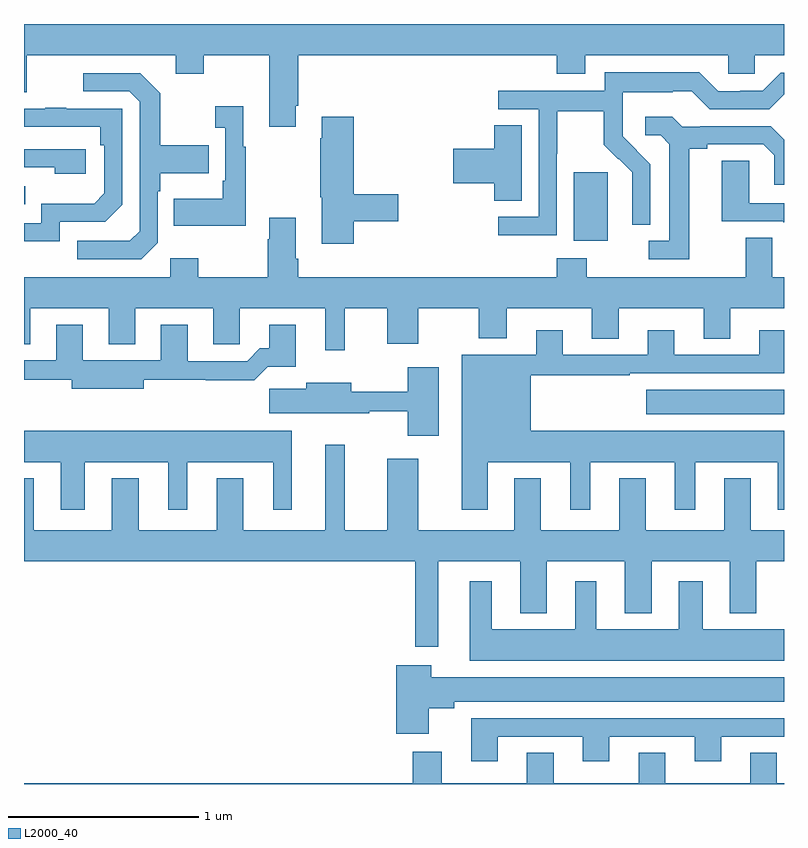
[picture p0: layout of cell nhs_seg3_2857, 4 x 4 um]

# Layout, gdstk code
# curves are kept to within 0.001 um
import gdstk
lib = gdstk.Library(unit=1e-6, precision=1e-09)
def R(c, l, rs):  # rectangles x0, y0, x1, y1
    for r in rs: c.add(gdstk.rectangle(r[:2], r[2:], *l))
def P(c, l, *ps):  # polygons
    for p in ps: c.add(gdstk.Polygon(p, *l))
L2000_40 = (2000, 40)

nhs_seg3_2857 = lib.new_cell('nhs_seg3_2857')
R(nhs_seg3_2857, L2000_40, [(262.275,712.346,263,712.474), (261.893,713.258,262.072,713.619), (259,713.451,259.007,713.547)])
P(nhs_seg3_2857, L2000_40, [(260.431,713.971),(260.444,713.971),(260.444,714.236),(261.803,714.236),(261.803,714.137),(261.955,714.137),(261.955,714.236),(262.707,714.236),(262.707,714.138),(262.845,714.138),(262.845,714.236),(263,714.236),(263,714.4),(259,714.4),(259,714.042),(259.015,714.042),(259.015,714.236),(259.799,714.236),(259.799,714.137),(259.947,714.137),(259.947,714.236),(260.291,714.236),(260.291,713.859),(260.431,713.859)],
  [(261.804,713.716),(261.807,713.716),(261.807,713.94),(262.051,713.94),(262.051,713.765),(262.128,713.688),(262.131,713.691),(262.202,713.621),(262.202,713.498),(262.2,713.498),(262.2,713.344),(262.296,713.344),(262.296,713.662),(262.15,713.81),(262.15,713.907),(262.152,713.907),(262.152,714.041),(262.415,714.041),(262.415,714.045),(262.515,714.045),(262.608,713.952),(262.923,713.952),(263,714.029),(263,714.144),(262.983,714.144),(262.887,714.048),(262.769,714.048),(262.769,714.045),(262.653,714.045),(262.553,714.145),(262.056,714.145),(262.056,714.048),(261.495,714.048),(261.495,713.952),(261.708,713.952),(261.708,713.385),(261.495,713.385),(261.495,713.287),(261.804,713.287)],
  [(259.704,713.25),(259.704,713.519),(259.717,713.519),(259.717,713.615),(259.973,713.615),(259.973,713.763),(259.717,713.763),(259.717,714.035),(259.611,714.141),(259.311,714.141),(259.311,714.045),(259.554,714.045),(259.608,713.991),(259.608,713.31),(259.557,713.259),(259.281,713.259),(259.281,713.163),(259.617,713.163)],
  [(260.166,713.755),(260.155,713.755),(260.155,713.968),(260.007,713.968),(260.007,713.855),(260.058,713.855),(260.058,713.575),(260.046,713.575),(260.046,713.479),(259.789,713.479),(259.789,713.339),(260.166,713.339)],
  [(259.188,713.358),(259.428,713.358),(259.518,713.448),(259.518,713.955),(259.223,713.955),(259.223,713.96),(259.111,713.96),(259.111,713.955),(259,713.955),(259,713.859),(259.402,713.859),(259.402,713.762),(259.422,713.762),(259.422,713.508),(259.369,713.455),(259.092,713.455),(259.092,713.352),(259,713.352),(259,713.256),(259.188,713.256)],
  [(262.501,713.744),(262.597,713.744),(262.597,713.766),(262.892,713.766),(262.949,713.709),(262.949,713.553),(263,713.553),(263,713.792),(262.93,713.862),(262.558,713.862),(262.558,713.859),(262.464,713.859),(262.412,713.911),(262.269,713.911),(262.269,713.814),(262.35,713.814),(262.397,713.767),(262.397,713.259),(262.287,713.259),(262.287,713.163),(262.501,713.163)],
  [(260.735,713.362),(260.971,713.362),(260.971,713.504),(260.735,713.504),(260.735,713.911),(260.567,713.911),(260.567,713.798),(260.56,713.798),(260.56,713.487),(260.567,713.487),(260.567,713.244),(260.735,713.244)],
  [(261.619,713.867),(261.476,713.867),(261.476,713.744),(261.258,713.744),(261.258,713.561),(261.476,713.561),(261.476,713.47),(261.619,713.47)],
  [(259.324,713.742),(259,713.742),(259,713.646),(259.163,713.646),(259.163,713.612),(259.324,713.612)],
  [(263,713.457),(262.818,713.457),(262.818,713.681),(262.673,713.681),(262.673,713.361),(262.997,713.361),(262.997,713.357),(263,713.357)],
  [(260.689,712.904),(260.912,712.904),(260.912,712.716),(261.076,712.716),(261.076,712.904),(261.394,712.904),(261.394,712.745),(261.541,712.745),(261.541,712.904),(261.989,712.904),(261.989,712.744),(262.129,712.744),(262.129,712.904),(262.577,712.904),(262.577,712.744),(262.717,712.744),(262.717,712.904),(263,712.904),(263,713.068),(262.939,713.068),(262.939,713.276),(262.799,713.276),(262.799,713.068),(261.963,713.068),(261.963,713.167),(261.803,713.167),(261.803,713.068),(260.444,713.068),(260.444,713.164),(260.431,713.164),(260.431,713.38),(260.291,713.38),(260.291,713.267),(260.284,713.267),(260.284,713.068),(259.916,713.068),(259.916,713.167),(259.77,713.167),(259.77,713.068),(259,713.068),(259,712.714),(259.033,712.714),(259.033,712.904),(259.445,712.904),(259.445,712.715),(259.585,712.715),(259.585,712.904),(259.997,712.904),(259.997,712.714),(260.136,712.714),(260.136,712.904),(260.585,712.904),(260.585,712.683),(260.689,712.683)],
  [(259.63,712.528),(259.957,712.528),(259.957,712.526),(260.213,712.526),(260.282,712.595),(260.431,712.595),(260.431,712.816),(260.291,712.816),(260.291,712.693),(260.242,712.693),(260.175,712.626),(259.861,712.626),(259.861,712.816),(259.721,712.816),(259.721,712.629),(259.309,712.63),(259.309,712.816),(259.169,712.816),(259.169,712.629),(259,712.629),(259,712.528),(259.25,712.528),(259.25,712.481),(259.63,712.481)],
  [(261.442,712.094),(261.875,712.094),(261.875,711.843),(261.979,711.843),(261.979,712.094),(262.424,712.094),(262.424,711.843),(262.534,711.843),(262.534,712.094),(262.967,712.094),(262.967,711.843),(263,711.843),(263,712.258),(261.667,712.258),(261.667,712.551),(262.187,712.551),(262.187,712.563),(263,712.563),(263,712.789),(262.871,712.789),(262.871,712.659),(262.423,712.659),(262.423,712.789),(262.283,712.789),(262.283,712.659),(261.835,712.659),(261.835,712.789),(261.695,712.789),(261.695,712.66),(261.305,712.66),(261.305,711.843),(261.442,711.843)],
  [(261.184,712.594),(261.019,712.594),(261.019,712.464),(260.722,712.464),(260.722,712.513),(260.486,712.513),(260.486,712.481),(260.291,712.481),(260.291,712.352),(260.818,712.352),(260.818,712.363),(261.019,712.363),(261.019,712.233),(261.184,712.233)],
  [(259.321,712.094),(259.76,712.094),(259.76,711.843),(259.858,711.843),(259.858,712.094),(260.312,712.094),(260.312,711.843),(260.41,711.843),(260.41,712.258),(259,712.258),(259,712.094),(259.193,712.094),(259.193,711.843),(259.321,711.843)],
  [(261.181,711.572),(261.611,711.572),(261.611,711.299),(261.751,711.299),(261.751,711.572),(262.163,711.572),(262.163,711.299),(262.303,711.299),(262.303,711.572),(262.715,711.572),(262.715,711.299),(262.855,711.299),(262.855,711.572),(263,711.572),(263,711.736),(262.825,711.736),(262.825,712.009),(262.685,712.009),(262.685,711.736),(262.273,711.736),(262.273,712.009),(262.133,712.009),(262.133,711.736),(261.721,711.736),(261.721,712.009),(261.581,712.009),(261.581,711.736),(261.076,711.736),(261.076,712.111),(260.912,712.111),(260.912,711.736),(260.689,711.736),(260.689,712.186),(260.585,712.186),(260.585,711.736),(260.155,711.736),(260.155,712.009),(260.015,712.009),(260.015,711.736),(259.603,711.736),(259.603,712.009),(259.463,712.009),(259.463,711.736),(259.051,711.736),(259.051,712.009),(259,712.009),(259,711.572),(261.06,711.572),(261.06,711.123),(261.181,711.123)],
  [(263,711.214),(262.573,711.214),(262.573,711.466),(262.445,711.466),(262.445,711.214),(262.012,711.214),(262.012,711.466),(261.902,711.466),(261.902,711.214),(261.463,711.214),(261.463,711.466),(261.347,711.466),(261.347,711.05),(263,711.05)],
  [(261.13,710.798),(261.265,710.798),(261.265,710.834),(263,710.834),(263,710.962),(261.143,710.962),(261.143,711.025),(260.96,711.025),(260.96,710.664),(261.13,710.664)],
  [(261.493,710.649),(261.941,710.649),(261.941,710.52),(262.081,710.52),(262.081,710.649),(262.529,710.649),(262.529,710.52),(262.669,710.52),(262.669,710.649),(263,710.649),(263,710.745),(261.353,710.745),(261.353,710.52),(261.493,710.52)],
  [(263,710.404),(262.963,710.404),(262.963,710.564),(262.823,710.564),(262.823,710.404),(262.375,710.404),(262.375,710.564),(262.235,710.564),(262.235,710.404),(261.787,710.404),(261.787,710.564),(261.647,710.564),(261.647,710.404),(261.199,710.404),(261.199,710.569),(261.047,710.569),(261.047,710.404),(259,710.404),(259,710.4),(263,710.4)])

lib.write_gds('nhs_seg3_2857.gds')
